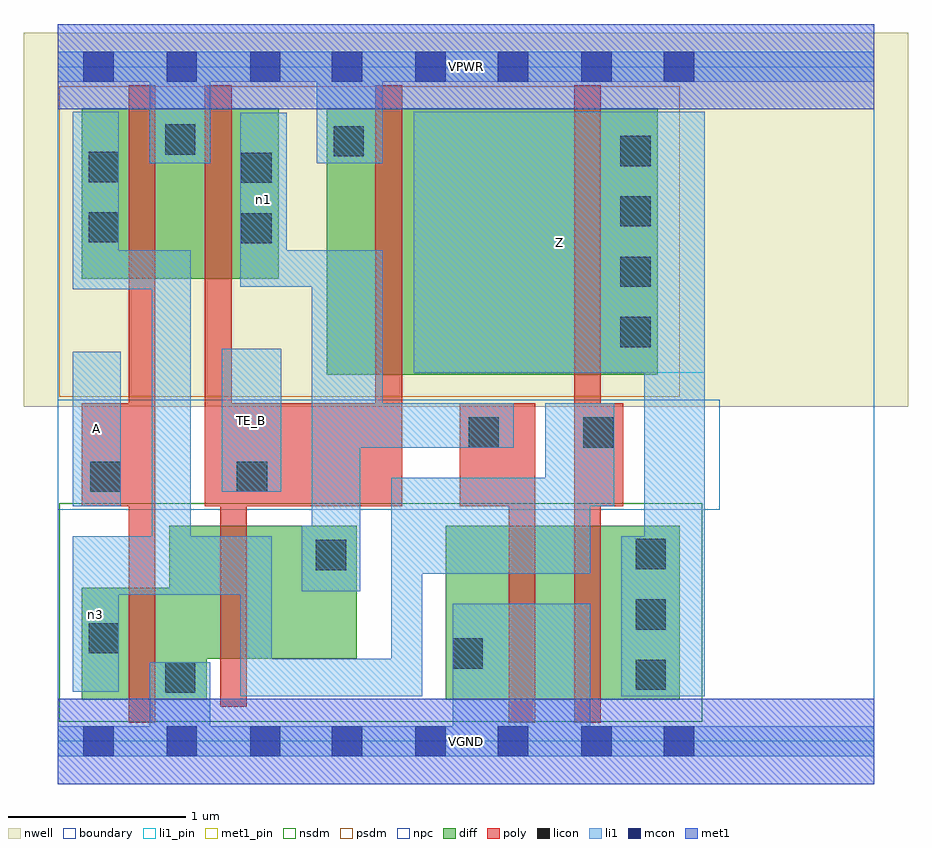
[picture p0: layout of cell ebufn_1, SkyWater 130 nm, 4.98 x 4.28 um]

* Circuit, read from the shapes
.subckt ebufn_1 A TE_B VGND VPWR Z n1 n3
XM1 VGND A n3 VSUBS sky130_fd_pr__nfet_01v8 w=0.63 l=0.15
XM2 n1 TE_B VGND VSUBS sky130_fd_pr__nfet_01v8 w=0.75 l=0.15
XM3 n2 n1 VGND VSUBS sky130_fd_pr__nfet_01v8 w=0.98 l=0.15
XM4 Z n3 n2 VSUBS sky130_fd_pr__nfet_01v8 w=0.98 l=0.15
XM5 VPWR A n3 n4 sky130_fd_pr__pfet_01v8 w=0.96 l=0.15
XM6 n1 TE_B VPWR n4 sky130_fd_pr__pfet_01v8 w=0.96 l=0.15
XM7 n5 TE_B VPWR n4 sky130_fd_pr__pfet_01v8 w=1.5 l=0.15
XM8 Z n3 n5 n4 sky130_fd_pr__pfet_01v8 w=1.5 l=0.15
.ends

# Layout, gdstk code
import gdstk
lib = gdstk.Library(unit=1e-6, precision=1e-09)
def R(c, l, rs):  # rectangles x0, y0, x1, y1
    for r in rs: c.add(gdstk.rectangle(r[:2], r[2:], *l))
def A(c, l, x, y, w, h, nx, ny, dx, dy):  # array of equal rectangles
    R(c, l, [(x+i*dx, y+j*dy, x+i*dx+w, y+j*dy+h) for i in range(nx) for j in range(ny)])
nwell = (64, 20)
diff = (65, 20)
poly = (66, 20)
licon = (66, 44)
li1_pin = (67, 16)
li1 = (67, 20)
mcon = (67, 44)
met1_pin = (68, 16)
met1 = (68, 20)
nsdm = (93, 44)
psdm = (94, 20)
npc = (95, 20)
boundary = (235, 4)

ebufn_1 = lib.new_cell('ebufn_1')
R(ebufn_1, nwell, [(-0.19,1.885,4.79,3.99), (0,1.885,4.6,3.99)])
R(ebufn_1, diff, [(0.135,0.235,0.84,0.865), (2.185,0.235,3.505,1.215), (0.63,0.465,1.685,1.215), (1.515,2.065,3.38,3.565), (0.135,2.605,1.245,3.565)])
R(ebufn_1, poly, [(0.4,0.105,0.55,3.695), (2.54,0.105,2.69,1.905), (2.91,0.105,3.06,3.695), (0.915,0.195,1.065,1.905), (0.135,1.325,0.55,1.905), (0.83,1.325,1.94,1.905), (0.83,1.325,0.98,3.695), (1.79,1.325,1.94,3.695), (2.265,1.325,2.69,1.905), (2.91,1.325,3.185,1.905)])
A(ebufn_1, licon, 3.255, 0.29, 0.17, 0.17, 1, 3, 0, 0.34)
A(ebufn_1, licon, 3.17, 2.22, 0.17, 0.17, 1, 4, 0, 0.34)
R(ebufn_1, licon, [(0.605,0.275,0.775,0.445), (2.225,0.41,2.395,0.58), (0.175,0.495,0.345,0.665), (1.455,0.965,1.625,1.135), (0.185,1.405,0.355,1.575), (1.01,1.405,1.18,1.575), (2.315,1.655,2.485,1.825), (2.96,1.655,3.13,1.825), (1.035,2.805,1.205,2.975), (0.175,2.81,0.345,2.98), (1.035,3.145,1.205,3.315), (0.175,3.15,0.345,3.32), (1.555,3.295,1.725,3.465), (0.605,3.305,0.775,3.475)])
R(ebufn_1, li1_pin, [(0.085,1.325,0.355,2.195), (0.925,1.405,1.26,2.21), (2.005,2.075,3.645,3.545)])
R(ebufn_1, li1, [(0,-0.085,4.6,0.085), (0.52,-0.085,0.86,0.445), (2.225,-0.085,3,0.775), (1.03,0.255,2.055,0.465), (1.03,0.255,1.205,1.155), (1.88,0.255,2.055,1.485), (3.175,0.255,3.645,1.155), (3.305,0.255,3.645,3.545), (0.085,0.28,0.345,1.155), (0.085,0.825,1.205,1.155), (0.53,0.825,0.75,2.765), (1.375,0.845,1.705,1.215), (1.43,0.845,1.705,2.765), (1.88,0.945,3,1.485), (2.745,0.945,3,1.905), (0.085,1.325,0.355,2.195), (2.745,1.325,3.135,1.905), (0.925,1.405,1.26,2.21), (1.43,1.655,2.57,1.905), (1.43,1.655,1.83,2.765), (2.005,2.075,3.645,3.545), (0.085,2.545,0.345,3.545), (0.085,2.545,0.75,2.765), (1.03,2.56,1.29,3.54), (1.03,2.56,1.83,2.765), (0.52,3.255,0.86,3.885), (1.46,3.255,1.83,3.885), (0,3.715,4.6,3.885)])
A(ebufn_1, mcon, 0.145, -0.085, 0.17, 0.17, 3, 2, 0.47, 3.8)
R(ebufn_1, mcon, [(1.545,-0.085,1.715,0.085), (2.015,-0.085,2.185,0.085), (2.48,-0.085,2.65,0.085), (2.95,-0.085,3.12,0.085), (3.415,-0.085,3.585,0.085), (1.545,3.715,1.715,3.885), (2.015,3.715,2.185,3.885), (2.48,3.715,2.65,3.885), (2.95,3.715,3.12,3.885), (3.415,3.715,3.585,3.885)])
R(ebufn_1, met1_pin, [(0,-0.24,4.6,0.24), (0,3.56,4.6,4.04)])
R(ebufn_1, met1, [(0,-0.24,4.6,0.24), (0,3.56,4.6,4.04)])
R(ebufn_1, nsdm, [(0.01,0.11,3.63,1.34)])
R(ebufn_1, psdm, [(0.01,1.94,3.505,3.69)])
R(ebufn_1, npc, [(0,1.305,3.73,1.925)])
R(ebufn_1, boundary, [(0,0,4.6,3.8)])
ebufn_1.add(gdstk.Label('A', (0.22,1.76), layer=67, texttype=5))
ebufn_1.add(gdstk.Label('TE_B', (1.092,1.807), layer=67, texttype=5))
ebufn_1.add(gdstk.Label('Z', (2.825,2.81), layer=67, texttype=5))
ebufn_1.add(gdstk.Label('n1', (1.16,3.05), layer=67, texttype=5))
ebufn_1.add(gdstk.Label('n3', (0.215,0.717), layer=67, texttype=5))
ebufn_1.add(gdstk.Label('VPWR', (2.3,3.8), layer=68, texttype=5))
ebufn_1.add(gdstk.Label('VGND', (2.3,0), layer=68, texttype=5))
ebufn_1.add(gdstk.Label('A', (0.22,1.76), layer=67, texttype=16))
ebufn_1.add(gdstk.Label('TE_B', (1.092,1.807), layer=67, texttype=16))
ebufn_1.add(gdstk.Label('Z', (2.825,2.81), layer=67, texttype=16))
ebufn_1.add(gdstk.Label('VPWR', (2.3,3.8), layer=68, texttype=16))
ebufn_1.add(gdstk.Label('VGND', (2.3,0), layer=68, texttype=16))

lib.write_gds('ebufn_1.gds')
